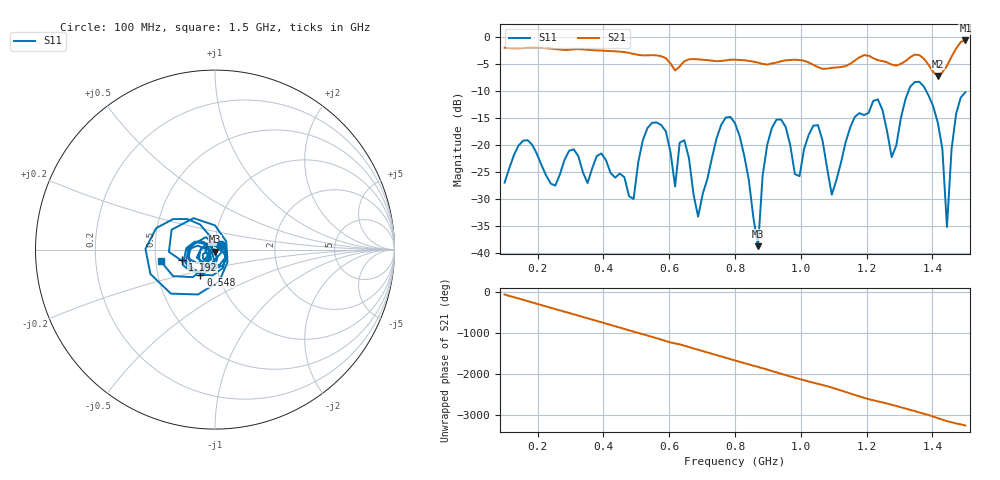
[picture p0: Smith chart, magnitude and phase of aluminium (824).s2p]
! NanoVNA-App
! Date: 2025-09-25 15:01:42
! Start: 100MHz Stop: 1,5GHz Points: 101
! S-Parameter data: F S11 S21 S12 S22
# Hz S RI R 50
!  Frequency  S11_Real  S11_Imag  S21_Real  S21_Imag  S12_Real  S12_Imag  S22_Real  S22_Imag
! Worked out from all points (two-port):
!   101 points, 100 MHz to 1.5 GHz, reference 50 ohm
!   highest |S21| = -0.57 dB at 1.5 GHz (marker M1); lowest = -7.2 dB at 1.416 GHz (marker M2)
!   |S21| within 3 dB of the highest: start of sweep to 578.7 MHz; 1.458 GHz to end of sweep (the widest 2 of 4)
!   lowest |S11| = -38.8 dB at 870 MHz (marker M3), VSWR 1.02, Z = 50.1 - j1.15 ohm
!   |S11| at or under -10 dB: start of sweep to 1.327 GHz; 1.381 GHz to end of sweep
!   S12 and S22 are empty: the file has one direction only
!   S11 on the Smith chart (normalised r, x): 100 MHz: 1.07, +0.06; 548 MHz: 0.82, -0.23; 1.192 GHz: 0.69, -0.08; 1.5 GHz: 0.53, -0.07
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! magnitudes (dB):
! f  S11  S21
! 100 MHz  -27.0  -1.9
! 156 MHz  -19.2  -2.0
! 338 MHz  -25.1  -2.2
! 492 MHz  -30.0  -3.1
! 548 MHz  -15.9  -3.3
! 576 MHz  -16.3  -3.5
! 618 MHz  -27.7  -6.1
! 646 MHz  -19.1  -4.4
! 688 MHz  -33.3  -4.1
! 800 MHz  -15.9  -4.1
! 870 MHz  -38.8  -4.7
! 912 MHz  -16.8  -4.8
! 996 MHz  -25.8  -4.2
! 1.038 GHz  -16.4  -5.1
! 1.094 GHz  -29.2  -5.7
! 1.192 GHz  -14.4  -3.3
! 1.276 GHz  -22.2  -5.0
! 1.346 GHz  -8.3  -3.2
! 1.416 GHz  -15.8  -7.2
! 1.444 GHz  -35.2  -5.3
! 1.472 GHz  -14.1  -2.1
! 1.5 GHz  -10.2  -0.6
